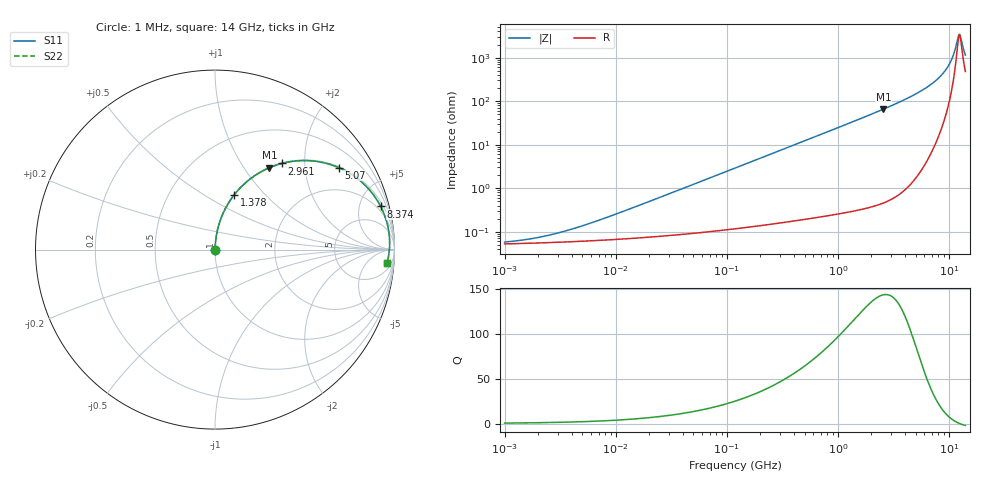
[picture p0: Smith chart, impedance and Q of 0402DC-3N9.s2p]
# MHz  S  MA  R  50
!Freq  MagS11  AngS11  MagS21  AngS21  MagS12  AngS12  MagS22  AngS22
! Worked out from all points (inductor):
!   801 points, 1 MHz to 14 GHz, reference 50 ohm
!   read as one part in series: L = 3.9 nH near 7.902 MHz
!   highest Q = 143 at 2.566 GHz (marker M1), where L = 4.08 nH
!   self-resonance near 12.4 GHz
!   S11 on the Smith chart (normalised r, x): 1 MHz: 1.00, +0.00; 1.378 GHz: 1.01, +0.68; 2.961 GHz: 1.01, +1.54; 5.07 GHz: 1.04, +2.99; 8.374 GHz: 1.41, +7.55; 14 GHz: 11, -21
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1  0.0005791 25.0  0.9995 -0.0  0.9995 -0.0  0.0005791 25.0
2.200292  0.0007744 44.1  0.9994 -0.0  0.9994 -0.0  0.0007744 44.1
4.958368  0.001356 63.5  0.9994 -0.1  0.9994 -0.1  0.001356 63.5
24.29341  0.005999 82.2  0.9992 -0.3  0.9992 -0.3  0.005999 82.2
119.025  0.02915 86.0  0.9984 -1.7  0.9984 -1.7  0.02915 86.0
583.1601  0.1415 81.1  0.9879 -8.1  0.9879 -8.1  0.1415 81.1
1378.487  0.3228 70.7  0.9437 -18.8  0.9437 -18.8  0.3228 70.7
1903.304  0.4298 64.1  0.8997 -25.5  0.8997 -25.5  0.4298 64.1
2565.876  0.5474 56.4  0.8331 -33.2  0.8331 -33.2  0.5474 56.4
2857.179  0.5927 53.3  0.8013 -36.3  0.8013 -36.3  0.5927 53.3
2961.452  0.608 52.2  0.7897 -37.4  0.7897 -37.4  0.608 52.2
3898.109  0.7247 43.1  0.6832 -46.4  0.6832 -46.4  0.7247 43.1
5070.071  0.8264 33.6  0.5533 -55.7  0.5533 -55.7  0.8264 33.6
6753.864  0.9125 22.8  0.3871 -65.8  0.3871 -65.8  0.9125 22.8
8374.445  0.954 14.6  0.2524 -72.3  0.2524 -72.3  0.954 14.6
9325.195  0.9664 10.5  0.1837 -74.2  0.1837 -74.2  0.9664 10.5
10260.55  0.9727 7.0  0.123 -73.7  0.123 -73.7  0.9727 7.0
11023.14  0.9744 4.3  0.07862 -68.8  0.07862 -68.8  0.9744 4.3
11842.4  0.9735 1.7  0.03921 -46.7  0.03921 -46.7  0.9735 1.7
12274.59  0.9722 0.4  0.02854 -12.8  0.02854 -12.8  0.9722 0.4
12722.56  0.9702 -0.9  0.03384 27.7  0.03384 27.7  0.9702 -0.9
14000  0.9618 -4.4  0.08404 60.8  0.08404 60.8  0.9618 -4.4
